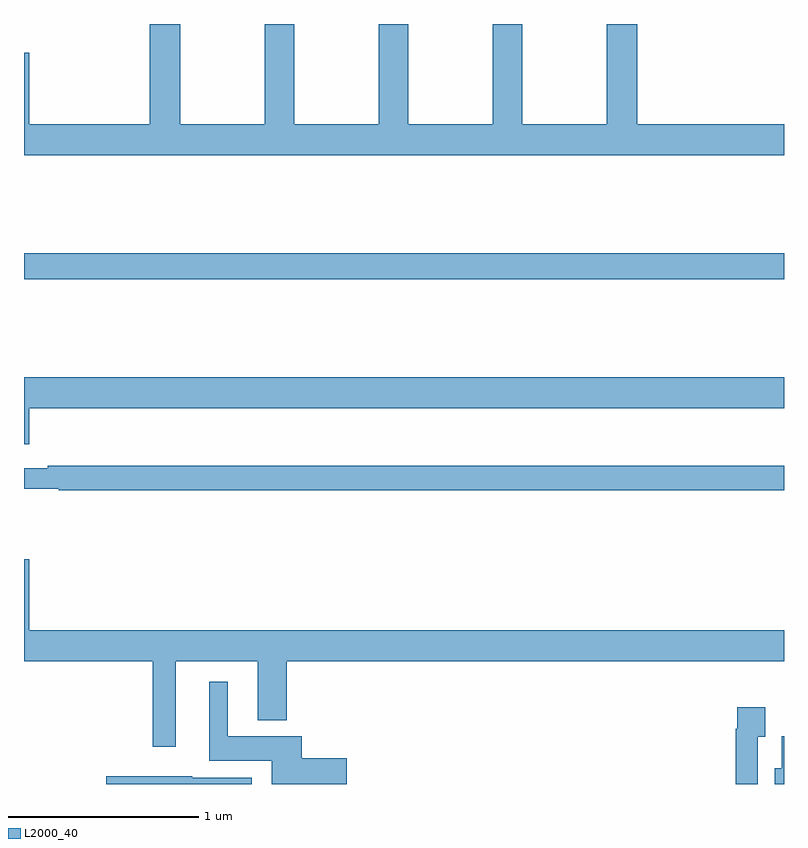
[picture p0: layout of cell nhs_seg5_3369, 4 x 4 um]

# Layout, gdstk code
import gdstk
lib = gdstk.Library(unit=1e-6, precision=1e-09)
def R(c, l, rs):  # rectangles x0, y0, x1, y1
    for r in rs: c.add(gdstk.rectangle(r[:2], r[2:], *l))
def P(c, l, *ps):  # polygons
    for p in ps: c.add(gdstk.Polygon(p, *l))
L2000_40 = (2000, 40)

nhs_seg5_3369 = lib.new_cell('nhs_seg5_3369')
R(nhs_seg5_3369, L2000_40, [(309,841.456,313,841.592)])
P(nhs_seg5_3369, L2000_40, [(313,842.272),(312.227,842.272),(312.227,842.799),(312.067,842.799),(312.067,842.272),(311.622,842.272),(311.622,842.799),(311.467,842.799),(311.467,842.272),(311.022,842.272),(311.022,842.799),(310.867,842.799),(310.867,842.272),(310.422,842.272),(310.422,842.799),(310.267,842.799),(310.267,842.272),(309.822,842.272),(309.822,842.799),(309.662,842.799),(309.662,842.272),(309.028,842.272),(309.028,842.647),(309,842.647),(309,842.108),(313,842.108)],
  [(309.028,840.776),(313,840.776),(313,840.94),(309,840.94),(309,840.588),(309.028,840.588)],
  [(313,840.475),(309.124,840.475),(309.124,840.462),(309,840.462),(309,840.354),(309.182,840.354),(309.182,840.346),(313,840.346)],
  [(309.799,839.444),(310.229,839.444),(310.229,839.135),(310.382,839.135),(310.382,839.444),(313,839.444),(313,839.608),(309.028,839.608),(309.028,839.983),(309,839.983),(309,839.444),(309.678,839.444),(309.678,838.995),(309.799,838.995)],
  [(310.699,838.934),(310.463,838.934),(310.463,839.05),(310.072,839.05),(310.072,839.338),(309.974,839.338),(309.974,838.922),(310.304,838.922),(310.304,838.799),(310.699,838.799)],
  [(312.861,839.047),(312.901,839.047),(312.901,839.203),(312.753,839.203),(312.753,839.09),(312.745,839.09),(312.745,838.799),(312.861,838.799)],
  [(313,839.05),(312.989,839.05),(312.989,838.882),(312.95,838.882),(312.95,838.799),(313,838.799)],
  [(310.198,838.833),(309.885,838.833),(309.885,838.841),(309.432,838.841),(309.432,838.799),(310.198,838.799)])

lib.write_gds('nhs_seg5_3369.gds')
